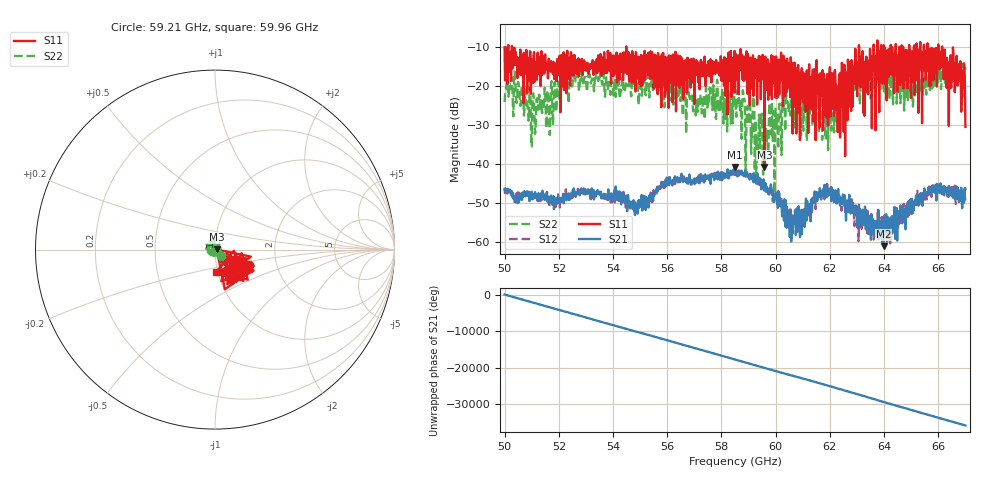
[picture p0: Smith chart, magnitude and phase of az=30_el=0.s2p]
!Created with skrf (http://scikit-rf.org).
# GHz S RI R 50.0
!freq ReS11 ImS11 ReS21 ImS21 ReS12 ImS12 ReS22 ImS22
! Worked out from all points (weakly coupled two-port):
!   1001 points, 50 GHz to 67 GHz, reference 50 ohm
!   highest |S21| = -40.97 dB at 58.48 GHz (marker M1); lowest = -61.2 dB at 63.99 GHz (marker M2)
!   lowest |S11| = -40.8 dB at 59.59 GHz (marker M3), VSWR 1.02, Z = 50.9 + j0.104 ohm
!   |S11| at or under -10 dB: 50.27 GHz to 54.49 GHz (4.215 GHz wide, 8.05 % of centre); 54.49 GHz to 63.07 GHz (8.584 GHz wide, 14.6 % of centre); 66.15 GHz to end of sweep (the widest 3 of 20)
!   |S22| runs from -49.2 to -14.1 dB; largest |S21 - S12| = 0.0022
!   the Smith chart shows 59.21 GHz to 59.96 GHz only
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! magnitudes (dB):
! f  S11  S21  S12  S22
! 50 GHz  -10.2  -46.6  -46.2  -24.2
! 50.44 GHz  -12.6  -48.4  -47.6  -24.5
! 51.05 GHz  -19.3  -49.1  -48.8  -22.0
! 52.84 GHz  -14.3  -47.3  -46.8  -18.6
! 54.83 GHz  -21.5  -51.0  -49.6  -21.0
! 55.68 GHz  -13.8  -46.1  -45.9  -21.4
! 58.48 GHz  -11.1  -41.0  -42.5  -24.6
! 58.5 GHz  -21.8  -42.3  -41.9  -25.2
! 59.59 GHz  -40.8  -45.2  -44.8  -29.1
! 59.84 GHz  -12.2  -46.2  -47.5  -24.9
! 60.03 GHz  -14.4  -47.9  -48.7  -30.8
! 60.61 GHz  -16.8  -54.1  -53.2  -24.0
! 61.34 GHz  -24.6  -52.1  -50.8  -27.7
! 62.04 GHz  -18.1  -46.1  -47.9  -30.0
! 62.56 GHz  -38.1  -52.3  -48.3  -20.8
! 63.01 GHz  -22.7  -56.3  -52.5  -19.5
! 63.33 GHz  -21.8  -56.9  -53.5  -18.5
! 63.99 GHz  -11.8  -61.2  -54.8  -21.9
! 64.18 GHz  -17.7  -57.2  -57.9  -19.1
! 66.08 GHz  -14.9  -45.1  -47.3  -15.6
! 66.75 GHz  -18.9  -47.8  -48.8  -17.5
! 67 GHz  -30.6  -46.5  -49.5  -15.3
